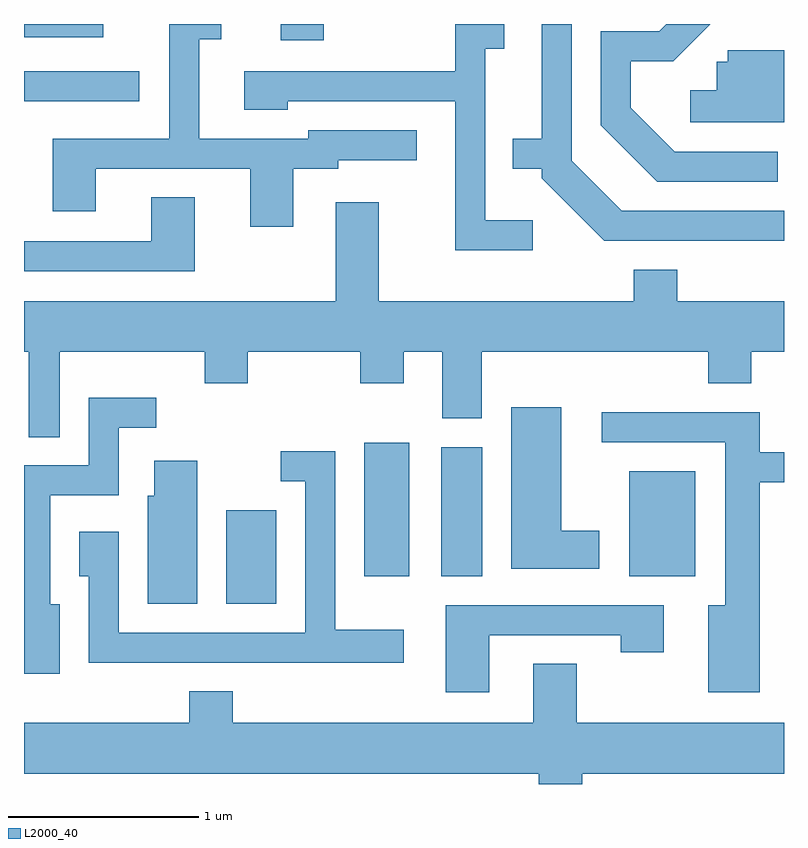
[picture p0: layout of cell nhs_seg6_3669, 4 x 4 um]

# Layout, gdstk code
import gdstk
lib = gdstk.Library(unit=1e-6, precision=1e-09)
def R(c, l, rs):  # rectangles x0, y0, x1, y1
    for r in rs: c.add(gdstk.rectangle(r[:2], r[2:], *l))
def P(c, l, *ps):  # polygons
    for p in ps: c.add(gdstk.Polygon(p, *l))
L2000_40 = (2000, 40)

nhs_seg6_3669 = lib.new_cell('nhs_seg6_3669')
R(nhs_seg6_3669, L2000_40, [(296.676,1593.111,296.939,1593.604), (297.401,1593.256,297.639,1593.959), (297.806,1593.256,298.024,1593.934), (298.796,1593.256,299.144,1593.809), (295.611,1595.756,296.218,1595.914), (296.961,1596.076,297.189,1596.162), (295.611,1596.091,296.028,1596.162)])
P(nhs_seg6_3669, L2000_40, [(299.578,1595.489),(299.037,1595.489),(298.804,1595.722),(298.804,1595.966),(299.027,1595.966),(299.223,1596.162),(298.992,1596.162),(298.954,1596.124),(298.646,1596.124),(298.646,1595.629),(298.944,1595.331),(299.578,1595.331)],
  [(297.029,1595.401),(297.264,1595.401),(297.264,1595.446),(297.678,1595.446),(297.678,1595.604),(297.106,1595.604),(297.106,1595.559),(296.534,1595.559),(296.534,1596.081),(296.648,1596.081),(296.648,1596.162),(296.376,1596.162),(296.376,1595.559),(295.761,1595.559),(295.761,1595.176),(295.989,1595.176),(295.989,1595.401),(296.801,1595.401),(296.801,1595.096),(297.029,1595.096)],
  [(299.611,1595.179),(298.757,1595.179),(298.494,1595.442),(298.494,1596.162),(298.336,1596.162),(298.336,1595.559),(298.183,1595.559),(298.183,1595.401),(298.336,1595.401),(298.336,1595.349),(298.664,1595.021),(299.611,1595.021)],
  [(298.288,1595.129),(298.039,1595.129),(298.039,1596.031),(298.138,1596.031),(298.138,1596.162),(297.881,1596.162),(297.881,1595.914),(296.771,1595.914),(296.771,1595.711),(296.999,1595.711),(296.999,1595.756),(297.881,1595.756),(297.881,1594.971),(298.288,1594.971)],
  [(299.611,1596.024),(299.316,1596.024),(299.316,1595.964),(299.256,1595.964),(299.256,1595.814),(299.118,1595.814),(299.118,1595.646),(299.611,1595.646)],
  [(296.509,1595.249),(296.281,1595.249),(296.281,1595.019),(295.611,1595.019),(295.611,1594.861),(296.509,1594.861)],
  [(295.799,1594.436),(296.561,1594.436),(296.561,1594.271),(296.789,1594.271),(296.789,1594.436),(297.381,1594.436),(297.381,1594.271),(297.609,1594.271),(297.609,1594.436),(297.811,1594.436),(297.811,1594.086),(298.019,1594.086),(298.019,1594.436),(299.211,1594.436),(299.211,1594.271),(299.439,1594.271),(299.439,1594.436),(299.611,1594.436),(299.611,1594.704),(299.049,1594.704),(299.049,1594.869),(298.821,1594.869),(298.821,1594.704),(297.479,1594.704),(297.479,1595.224),(297.251,1595.224),(297.251,1594.704),(295.611,1594.704),(295.611,1594.436),(295.636,1594.436),(295.636,1593.988),(295.799,1593.988)],
  [(295.799,1593.109),(295.749,1593.109),(295.749,1593.681),(296.109,1593.681),(296.109,1594.036),(296.308,1594.036),(296.308,1594.194),(295.951,1594.194),(295.951,1593.839),(295.611,1593.839),(295.611,1592.741),(295.799,1592.741)],
  [(298.639,1593.494),(298.439,1593.494),(298.439,1594.144),(298.176,1594.144),(298.176,1593.296),(298.639,1593.296)],
  [(299.484,1593.751),(299.611,1593.751),(299.611,1593.909),(299.484,1593.909),(299.484,1594.119),(298.653,1594.119),(298.653,1593.961),(299.301,1593.961),(299.301,1593.104),(299.211,1593.104),(299.211,1592.646),(299.484,1592.646)],
  [(297.609,1592.974),(297.249,1592.974),(297.249,1593.914),(296.963,1593.914),(296.963,1593.756),(297.091,1593.756),(297.091,1592.959),(296.109,1592.959),(296.109,1593.489),(295.901,1593.489),(295.901,1593.256),(295.951,1593.256),(295.951,1592.801),(297.609,1592.801)],
  [(296.524,1593.864),(296.296,1593.864),(296.296,1593.679),(296.261,1593.679),(296.261,1593.111),(296.524,1593.111)],
  [(298.059,1592.946),(298.751,1592.946),(298.751,1592.856),(298.979,1592.856),(298.979,1593.104),(297.831,1593.104),(297.831,1592.646),(298.059,1592.646)],
  [(298.549,1592.216),(299.611,1592.216),(299.611,1592.484),(298.519,1592.484),(298.519,1592.794),(298.291,1592.794),(298.291,1592.484),(296.709,1592.484),(296.709,1592.649),(296.481,1592.649),(296.481,1592.484),(295.611,1592.484),(295.611,1592.216),(298.321,1592.216),(298.321,1592.162),(298.549,1592.162)])

lib.write_gds('nhs_seg6_3669.gds')
